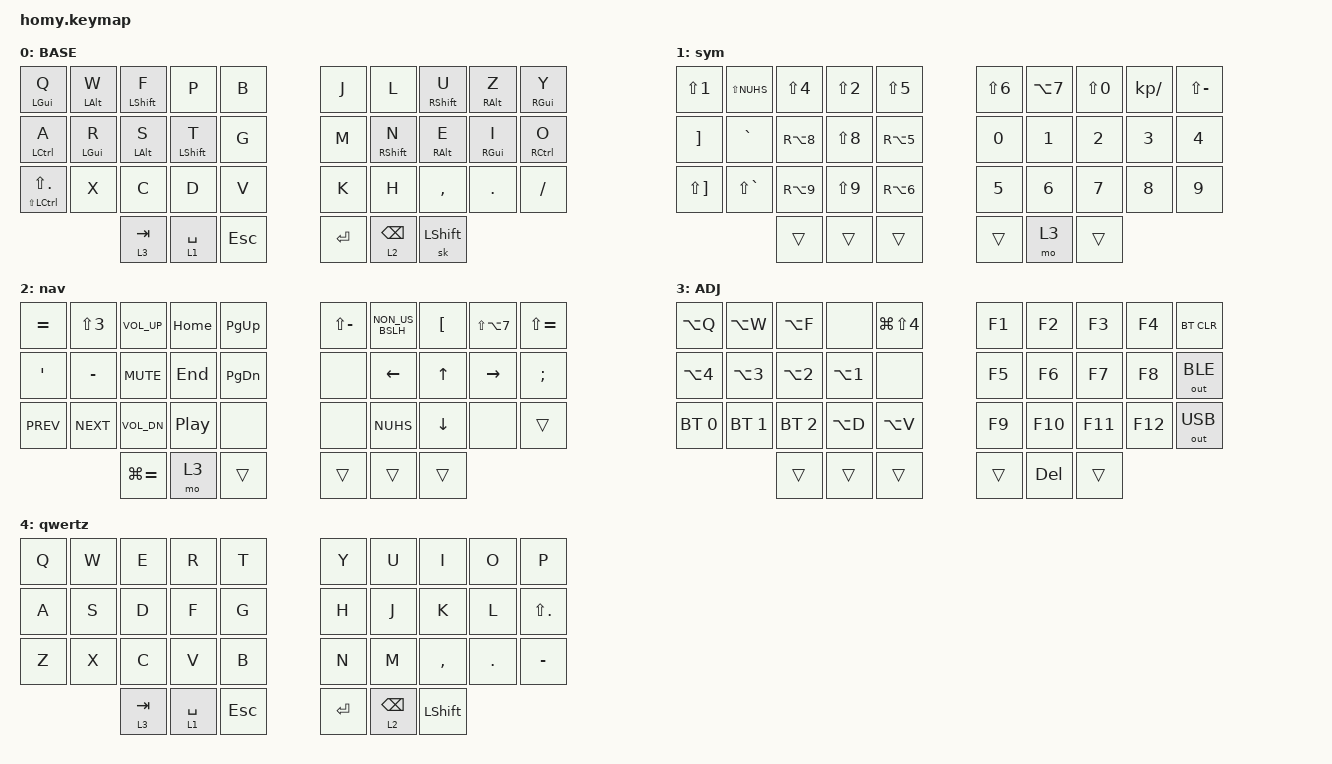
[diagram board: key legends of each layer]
//
// wiafu
//
// ▄▄▄▄▄▄▄▄▄▄▄▄▄▄▄▄▄▄▄▄▄▄▄▄▄▄▄▄▄▄▄▄▄▄▄▄▄▄▄▄▄▄▄▄▄▄▄▄▄▄▄▄▄▄▄▄▄▄▄▄▄▄▄▄▄▄▄▄▄▄▄▄▄▄▄▄▄▄▄▄▄▄▄▄▄▄▄▄▄▄▄▄▄▄▄▄▄▄▄▄▄▄▄▄▄▄▄▄▄▄▄▄▄▄▄▄▄▄▄▄▄▄▄▄▄▄▄▄▄▄▄▄▄▄▄▄▄▄▄▄▄▄▄▄▄▄▄▄▄

#include <behaviors.dtsi>
#include <dt-bindings/zmk/bt.h>
#include <dt-bindings/zmk/keys.h>
#include <dt-bindings/zmk/outputs.h>

// #define BASE 0
// #define SYM  1
// #define NAV  2
// #define ADJ  3
// #define TVP1 4
// #define TVP2 5

&mt {
    quick-tap-ms = <200>;
    global-quick-tap;
    flavor = "tap-preferred";
    tapping-term-ms = <150>;
};

&lt {
    quick-tap-ms = <200>;
    require-prior-idle-ms = <100>;
    flavor = "tap-preferred";
    tapping-term-ms = <180>;
};

&sk { quick-release; };

/ {
    // combos {
    //     compatible = "zmk,combos";
    //
    //     combo_esc {
    //         timeout-ms = <50>;
    //         key-positions = <0 1>;
    //         bindings = <&kp ESC>;
    //     };
    //
    //     combo_tvp {
    //         timeout-ms = <100>;
    //         key-positions = <11 12 13>;
    //         bindings = <&tog TVP1>;
    //     };
    // };
    // macros {
    //     gif: gif {
    //         label = "giphy";
    //         compatible = "zmk,behavior-macro";
    //         #binding-cells = <0>;
    //         bindings
    //             = <&macro_press &kp LSHFT>
    //             , <&macro_tap &kp N2>
    //             , <&macro_release &kp LSHFT>
    //             , <&macro_tap &kp G &kp I &kp F>
    //             ;
    //     };
    // };
    // behavior-tap-hold {
    //     quick-tap-ms = <200>;   // Time threshold for quick taps
    //     hold-tap-delay-ms = <0>; // Delay before hold behavior activates (0 means instant hold)
    //     global-quick-tap; // Enables quick tap globally
    // };

    combos {
        compatible = "zmk,combos";

        // ar_ae {
        //     bindings = <&kp APOS>;
        //     key-positions = <10 11>;
        //     layers = <0>;
        //     timeout-ms = <25>;
        //     require-prior-idle-ms = <100>;
        // };
        //
        // oi_oe {
        //     bindings = <&kp SEMI>;
        //     key-positions = <19 18>;
        //     layers = <0>;
        //     timeout-ms = <20>;
        // };
        //
        // rs_sz {
        //     bindings = <&kp MINUS>;
        //     key-positions = <11 12>;
        //     layers = <0>;
        //     timeout-ms = <20>;
        // };
        //
        // uy_ue {
        //     bindings = <&kp LBKT>;
        //     key-positions = <7 8>;
        //     layers = <0>;
        //     timeout-ms = <25>;
        //     require-prior-idle-ms = <100>;
        // };
        //
        // fp_dollar {
        //     bindings = <&kp LS(N4)>;
        //     key-positions = <2 3>;
        //     timeout-ms = <20>;
        //     layers = <0>;
        // };
        //
        // nei_qmark {
        //     bindings = <&kp LS(MINUS)>;
        //     key-positions = <16 17 18>;
        //     timeout-ms = <40>;
        //     layers = <0>;
        // };
        //
        // c,._semi {
        //     bindings = <&kp LS(COMMA)>;
        //     key-positions = <29 28>;
        //     timeout-ms = <20>;
        //     layers = <0>;
        // };
        //
        // pb_quote {
        //     bindings = <&kp LS(N2)>;
        //     key-positions = <3 4>;
        //     timeout-ms = <50>;
        //     layers = <0>;
        // };
        //
        // wf_squote {
        //     bindings = <&kp LS(NUHS)>;
        //     key-positions = <1 2>;
        //     timeout-ms = <30>;
        //     layers = <0>;
        //     require-prior-idle-ms = <200>;
        // };
        //
        // xc_copy {
        //     bindings = <&kp LG(C)>;
        //     key-positions = <22 23>;
        //     timeout-ms = <20>;
        //     layers = <0>;
        // };
        //
        // cd_paste {
        //     bindings = <&kp LG(V)>;
        //     key-positions = <23 24>;
        //     timeout-ms = <20>;
        //     layers = <0>;
        // };
        //
        // st_sticky_sym {
        //     bindings = <&sl 2>;
        //     key-positions = <12 13>;
        //     timeout-ms = <20>;
        //     layers = <0>;
        // };
        //
        // ie_equals {
        //     bindings = <&kp LS(N0)>;
        //     key-positions = <17 18>;
        //     timeout-ms = <20>;
        //     layers = <0>;
        // };
        //
        // jl_circ {
        //     bindings = <&kp NON_US_BSLH>;
        //     key-positions = <5 6>;
        //     timeout-ms = <50>;
        //     layers = <0>;
        // };
        //
        // lu_slash {
        //     bindings = <&kp LS(N7)>;
        //     key-positions = <6 7>;
        //     timeout-ms = <30>;
        //     layers = <0>;
        //     require-prior-idle-ms = <150>;
        // };
        //
        // yz_qmark {
        //     bindings = <&kp LS(MINUS)>;
        //     key-positions = <8 9>;
        //     timeout-ms = <30>;
        //     layers = <0>;
        //     require-prior-idle-ms = <100>;
        // };
        //
        // colonx_asterisk {
        //     bindings = <&kp LS(RBKT)>;
        //     key-positions = <21 22>;
        //     layers = <0>;
        //     timeout-ms = <50>;
        // };
        //
        // h,_pound {
        //     bindings = <&kp NUHS>;
        //     key-positions = <27 28>;
        //     timeout-ms = <30>;
        //     require-prior-idle-ms = <200>;
        //     layers = <0>;
        // };
        //
        // ne_qmark {
        //     bindings = <&kp LS(MINUS)>;
        //     key-positions = <16 17>;
        //     timeout-ms = <20>;
        //     layers = <0>;
        // };
        //
        // at_ae {
        //     bindings = <&kp APOS>;
        //     key-positions = <10 13>;
        //     timeout-ms = <25>;
        //     require-prior-idle-ms = <100>;
        //     layers = <0>;
        // };
        //
        // no_oe {
        //     bindings = <&kp SEMI>;
        //     key-positions = <16 19>;
        //     timeout-ms = <25>;
        //     layers = <0>;
        // };
        //
        // rst_excl {
        //     bindings = <&kp LS(N1)>;
        //     key-positions = <11 12 13>;
        //     timeout-ms = <40>;
        //     layers = <0>;
        // };

        left_bootloader {
            bindings = <&bootloader>;
            key-positions = <0 1 2>;
        };

        right_bootloader {
            bindings = <&bootloader>;
            key-positions = <7 8 9>;
        };

        semicolon {
            bindings = <&kp LS(COMMA)>;
            key-positions = <27 28>;
        };

        equals {
            bindings = <&kp LS(N0)>;
            key-positions = <17 18>;
        };

        slash {
            bindings = <&kp LS(N7)>;
            key-positions = <6 7>;
        };

        qmark {
            bindings = <&kp LS(MINUS)>;
            key-positions = <16 17 18>;
            timeout-ms = <70>;
            layers = <0>;
        };

        pound {
            bindings = <&kp NUHS>;
            key-positions = <26 27>;
        };

        circumflex {
            bindings = <&kp NON_US_BSLH>;
            key-positions = <5 6>;
        };

        double_quote {
            bindings = <&kp LS(NUMBER_2)>;
            key-positions = <3 4>;
        };

        single_quote {
            bindings = <&kp LS(NUHS)>;
            key-positions = <1 2>;
        };

        dollar {
            bindings = <&kp LS(N4)>;
            key-positions = <2 3>;
        };

        exclamation {
            bindings = <&kp LS(NUMBER_1)>;
            key-positions = <11 12 13>;
        };

        arr_ptr {
            bindings = <&arr_ptr>;
            key-positions = <28 29>;
            layers = <0>;
        };

        qwerty {
            bindings = <&tog 4>;
            key-positions = <20 21 22 23>;
        };
    };

    macros {
        arr_ptr: arr_ptr {
            compatible = "zmk,behavior-macro";
            #binding-cells = <0>;
            bindings = <&kp SLASH &kp LS(GRAVE)>;
            label = "ARR_PTR";
        };
    };

    keymap {
        compatible = "zmk,keymap";

        // ▄▄▄▄▄▄▄▄▄▄▄▄▄▄▄▄▄▄▄▄▄▄▄▄▄▄▄▄▄▄▄▄▄▄▄▄▄▄▄▄▄▄▄▄▄▄▄▄▄▄▄▄▄▄▄▄▄▄▄▄▄▄▄▄▄▄▄▄▄▄▄▄▄▄▄▄▄▄▄▄▄▄▄▄▄▄▄▄▄▄▄▄▄▄▄▄▄▄▄▄▄▄▄▄▄▄▄▄▄▄▄▄▄▄▄▄▄▄▄▄▄▄▄▄▄▄▄▄▄▄▄▄▄▄▄▄▄▄▄▄▄▄▄▄▄▄▄▄▄

        base_layer {
            // ┏━━━━━━━━━━━━━━━━━━━━━━━━━━━━━━━━━━━━━━━┓

            label = "BASE";

            // ┗━━━━━━━━━━━━━━━━━━━━━━━━━━━━━━━━━━━━━━━┛
            //             ┏━━━━━━━━━━━┳━━━━━━━━━━━┳━━━━━━━━━━━┳━━━━━━━━━━━┳━━━━━━━━━━━┓   ┏━━━━━━━━━━━┳━━━━━━━━━━━┳━━━━━━━━━━━┳━━━━━━━━━━━┳━━━━━━━━━━━┓
            //             ┃     Q     ┃     W     ┃     F     ┃     P     ┃     B     ┃   ┃     J     ┃     L     ┃     U     ┃     Y     ┃     ;     ┃
            //             ┣━━━━━━━━━━━╋━━━━━━━━━━━╋━━━━━━━━━━━╋━━━━━━━━━━━╋━━━━━━━━━━━┫   ┣━━━━━━━━━━━╋━━━━━━━━━━━╋━━━━━━━━━━━╋━━━━━━━━━━━╋━━━━━━━━━━━┫
            //             ┃     A     ┃     R     ┃     S     ┃     T     ┃     G     ┃   ┃     M     ┃     N     ┃     E     ┃     I     ┃     O     ┃
            // ┏━━━━━━━━━━━╋━━━━━━━━━━━╋━━━━━━━━━━━╋━━━━━━━━━━━╋━━━━━━━━━━━╋━━━━━━━━━━━┫   ┣━━━━━━━━━━━╋━━━━━━━━━━━╋━━━━━━━━━━━╋━━━━━━━━━━━╋━━━━━━━━━━━╋━━━━━━━━━━━┓
            // ┃     Q     ┃     Z     ┃     X     ┃     C     ┃     D     ┃     V     ┃   ┃     K     ┃     H     ┃     ,     ┃     .     ┃     -     ┃     \     ┃
            // ┗━━━━━━━━━━━┻━━━━━━━━━━━┻━━━━━━━━━━━╋━━━━━━━━━━━╋━━━━━━━━━━━╋━━━━━━━━━━━┫   ┣━━━━━━━━━━━╋━━━━━━━━━━━╋━━━━━━━━━━━╋━━━━━━━━━━━┻━━━━━━━━━━━┻━━━━━━━━━━━┛
            //                                     ┃    TAB    ┃    ESC    ┃    SPC    ┃   ┃   ENTER   ┃    BSPC   ┃    ESC    ┃
            //                                     ┗━━━━━━━━━━━┻━━━━━━━━━━━┻━━━━━━━━━━━┛   ┗━━━━━━━━━━━┻━━━━━━━━━━━┻━━━━━━━━━━━┛

            bindings = <
&mt LGUI Q             &mt LEFT_ALT W  &mt LSHIFT F  &kp P        &kp B       &kp J    &kp L        &mt RSHFT U     &mt RALT Z  &mt RGUI Y
&mt LCTRL A            &mt LGUI R      &mt LALT S    &mt LSHFT T  &kp G       &kp M    &mt RSHFT N  &mt RALT E      &mt RGUI I  &mt RCTRL O
&mt LS(LCTRL) LS(DOT)  &kp X           &kp C         &kp D        &kp V       &kp K    &kp H        &kp COMMA       &kp DOT     &kp FSLH
                                       &lt 3 TAB     &lt 1 SPACE  &kp ESCAPE  &kp RET  &lt 2 BSPC   &sk LEFT_SHIFT
            >;
        };

        sym {
            bindings = <
&kp LS(N1)    &kp LS(NUHS)   &kp LS(N4)  &kp LS(N2)  &kp LS(N5)  &kp LS(N6)  &kp LA(NUMBER_7)  &kp LS(N0)  &kp KP_SLASH  &kp LS(MINUS)
&kp RBKT      &kp GRAVE      &kp RA(N8)  &kp LS(N8)  &kp RA(N5)  &kp N0      &kp N1            &kp N2      &kp N3        &kp N4
&kp LS(RBKT)  &kp LS(GRAVE)  &kp RA(N9)  &kp LS(N9)  &kp RA(N6)  &kp N5      &kp N6            &kp N7      &kp N8        &kp N9
                             &trans      &trans      &trans      &trans      &mo 3             &trans
            >;
        };

        nav {
            bindings = <
&kp EQUAL   &kp LS(N3)  &kp C_VOL_UP   &kp HOME          &kp PG_UP  &kp LS(MINUS)  &kp NON_US_BSLH  &kp LBKT  &kp LS(LA(N7))  &kp LS(EQUAL)
&kp APOS    &kp MINUS   &kp C_MUTE     &kp END           &kp PG_DN  &none          &kp LEFT         &kp UP    &kp RIGHT       &kp SEMI
&kp C_PREV  &kp C_NEXT  &kp C_VOL_DN   &kp C_PLAY_PAUSE  &none      &none          &kp NUHS         &kp DOWN  &none           &trans
                        &kp LG(EQUAL)  &mo 3             &trans     &trans         &trans           &trans
            >;
        };

        adjust_layer {
            label = "ADJ";
            bindings = <
&kp LA(Q)     &kp LA(W)     &kp LA(F)     &none       &kp LG(LS(N4))  &kp F1  &kp F2      &kp F3   &kp F4   &bt BT_CLR
&kp LA(N4)    &kp LA(N3)    &kp LA(N2)    &kp LA(N1)  &none           &kp F5  &kp F6      &kp F7   &kp F8   &out OUT_BLE
&bt BT_SEL 0  &bt BT_SEL 1  &bt BT_SEL 2  &kp LA(D)   &kp LA(V)       &kp F9  &kp F10     &kp F11  &kp F12  &out OUT_USB
                            &trans        &trans      &trans          &trans  &kp DELETE  &trans
            >;
        };

        qwertz {
            bindings = <
&kp Q  &kp W  &kp E      &kp R        &kp T    &kp Y    &kp U            &kp I      &kp O    &kp P
&kp A  &kp S  &kp D      &kp F        &kp G    &kp H    &kp J            &kp K      &kp L    &kp LS(DOT)
&kp Z  &kp X  &kp C      &kp V        &kp B    &kp N    &kp M            &kp COMMA  &kp DOT  &kp MINUS
              &lt 3 TAB  &lt 1 SPACE  &kp ESC  &kp RET  &lt 2 BACKSPACE  &kp LSHFT
            >;
        };
    };
};
